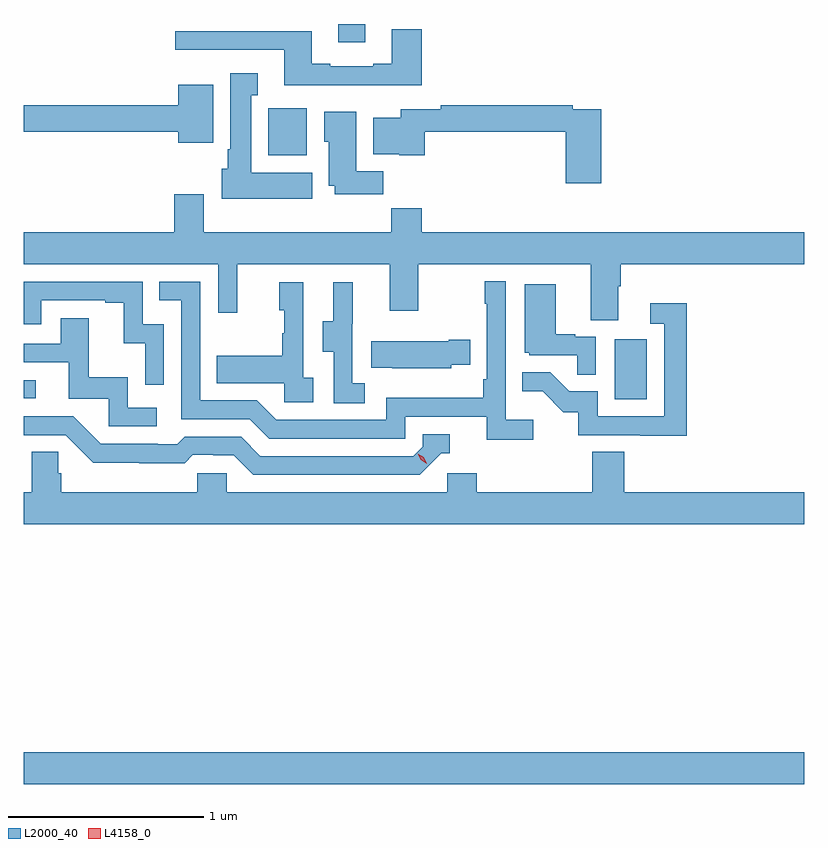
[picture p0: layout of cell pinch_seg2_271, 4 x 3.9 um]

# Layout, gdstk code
import gdstk
lib = gdstk.Library(unit=1e-6, precision=1e-09)
def R(c, l, rs):  # rectangles x0, y0, x1, y1
    for r in rs: c.add(gdstk.rectangle(r[:2], r[2:], *l))
def P(c, l, *ps):  # polygons
    for p in ps: c.add(gdstk.Polygon(p, *l))
L2000_40 = (2000, 40)
L4158_0 = (4158, 0)

pinch_seg2_271 = lib.new_cell('pinch_seg2_271')
R(pinch_seg2_271, L2000_40, [(915.134,648.968,919.134,649.132), (918.164,650.94,918.328,651.247), (915.134,650.946,915.196,651.039), (916.388,652.19,916.585,652.432), (916.745,652.77,916.885,652.864)])
P(pinch_seg2_271, L2000_40, [(917.174,652.837),(917.021,652.837),(917.021,652.66),(916.925,652.66),(916.925,652.647),(916.705,652.647),(916.705,652.66),(916.609,652.66),(916.609,652.828),(915.909,652.828),(915.909,652.731),(916.469,652.731),(916.469,652.55),(917.174,652.55)],
  [(916.612,652.102),(916.3,652.102),(916.3,652.499),(916.333,652.499),(916.333,652.612),(916.193,652.612),(916.193,652.222),(916.178,652.222),(916.178,652.122),(916.148,652.122),(916.148,651.968),(916.612,651.968)],
  [(916.105,652.552),(915.926,652.552),(915.926,652.448),(915.134,652.448),(915.134,652.312),(915.926,652.312),(915.926,652.256),(916.105,652.256)],
  [(918.095,652.428),(917.948,652.428),(917.948,652.448),(917.272,652.448),(917.272,652.428),(917.066,652.428),(917.066,652.384),(916.925,652.384),(916.925,652.196),(917.058,652.196),(917.058,652.19),(917.189,652.19),(917.189,652.312),(917.912,652.312),(917.912,652.047),(918.095,652.047)],
  [(916.976,652.108),(916.837,652.108),(916.837,652.414),(916.673,652.414),(916.673,652.26),(916.697,652.26),(916.697,652.034),(916.727,652.034),(916.727,651.99),(916.976,651.99)],
  [(918.181,651.52),(918.194,651.52),(918.194,651.632),(919.134,651.632),(919.134,651.796),(917.174,651.796),(917.174,651.92),(917.017,651.92),(917.017,651.796),(916.057,651.796),(916.057,651.991),(915.905,651.991),(915.905,651.796),(915.134,651.796),(915.134,651.632),(916.131,651.632),(916.131,651.384),(916.229,651.384),(916.229,651.632),(917.009,651.632),(917.009,651.393),(917.157,651.393),(917.157,651.632),(918.041,651.632),(918.041,651.346),(918.181,651.346)],
  [(917.746,650.836),(917.604,650.836),(917.604,651.544),(917.496,651.544),(917.496,651.431),(917.508,651.431),(917.508,651.043),(917.488,651.043),(917.488,650.947),(916.992,650.947),(916.992,650.835),(916.428,650.835),(916.329,650.934),(916.038,650.934),(916.038,651.543),(915.829,651.543),(915.829,651.447),(915.942,651.447),(915.942,650.838),(916.292,650.838),(916.391,650.739),(917.088,650.739),(917.088,650.85),(917.507,650.85),(917.507,650.734),(917.746,650.734)],
  [(915.852,651.324),(915.744,651.324),(915.744,651.543),(915.134,651.543),(915.134,651.324),(915.222,651.324),(915.222,651.447),(915.551,651.447),(915.551,651.435),(915.647,651.435),(915.647,651.227),(915.756,651.227),(915.756,651.015),(915.852,651.015)],
  [(916.618,651.05),(916.566,651.05),(916.566,651.541),(916.442,651.541),(916.442,651.396),(916.468,651.396),(916.468,651.278),(916.458,651.278),(916.458,651.163),(916.123,651.163),(916.123,651.023),(916.47,651.023),(916.47,650.925),(916.618,650.925)],
  [(916.882,651.023),(916.818,651.023),(916.818,651.327),(916.82,651.327),(916.82,651.541),(916.721,651.541),(916.721,651.339),(916.667,651.339),(916.667,651.184),(916.722,651.184),(916.722,650.92),(916.882,650.92)],
  [(918.066,651.261),(917.96,651.261),(917.96,651.274),(917.86,651.274),(917.86,651.529),(917.702,651.529),(917.702,651.18),(917.724,651.18),(917.724,651.165),(917.971,651.165),(917.971,651.067),(918.066,651.067)],
  [(918.533,651.433),(918.345,651.433),(918.345,651.327),(918.417,651.327),(918.417,650.853),(918.075,650.853),(918.075,650.982),(917.931,650.982),(917.833,651.08),(917.689,651.08),(917.689,650.981),(917.793,650.981),(917.9,650.874),(917.977,650.874),(917.977,650.757),(918.295,650.757),(918.295,650.752),(918.533,650.752)],
  [(915.814,650.898),(915.666,650.898),(915.666,651.052),(915.467,651.052),(915.467,651.355),(915.323,651.355),(915.323,651.225),(915.134,651.225),(915.134,651.129),(915.365,651.129),(915.365,650.943),(915.57,650.943),(915.57,650.802),(915.814,650.802)],
  [(917.325,651.116),(917.423,651.116),(917.423,651.246),(917.312,651.246),(917.312,651.238),(916.915,651.238),(916.915,651.101),(917.023,651.101),(917.023,651.098),(917.325,651.098)],
  [(917.274,650.664),(917.317,650.664),(917.317,650.76),(917.178,650.76),(917.178,650.697),(917.13,650.649),(916.347,650.649),(916.248,650.748),(915.959,650.748),(915.92,650.709),(915.821,650.709),(915.821,650.712),(915.528,650.712),(915.387,650.853),(915.134,650.853),(915.134,650.757),(915.348,650.757),(915.49,650.615),(915.726,650.615),(915.726,650.613),(915.959,650.613),(916.001,650.655),(916.104,650.655),(916.104,650.652),(916.211,650.652),(916.31,650.553),(917.163,650.553)],
  [(915.174,650.672),(915.174,650.464),(915.134,650.464),(915.134,650.3),(919.134,650.3),(919.134,650.464),(918.212,650.464),(918.212,650.672),(918.047,650.672),(918.047,650.464),(917.456,650.464),(917.456,650.562),(917.304,650.562),(917.304,650.464),(916.173,650.464),(916.173,650.562),(916.023,650.562),(916.023,650.464),(915.326,650.464),(915.326,650.562),(915.311,650.562),(915.311,650.672)])
P(pinch_seg2_271, L4158_0, [(917.199,650.61),(917.169,650.629),(917.153,650.662),(917.153,650.662),(917.153,650.662),(917.184,650.642),(917.2,650.61),(917.2,650.61)])

lib.write_gds('pinch_seg2_271.gds')
